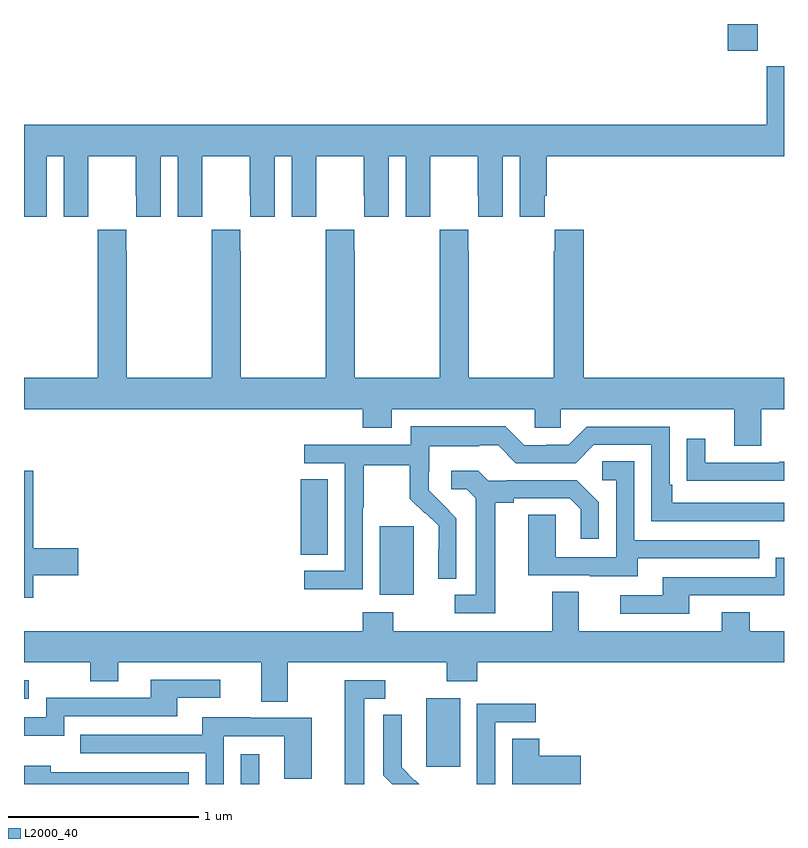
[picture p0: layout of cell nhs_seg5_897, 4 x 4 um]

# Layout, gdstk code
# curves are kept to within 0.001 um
import gdstk
lib = gdstk.Library(unit=1e-6, precision=1e-09)
def R(c, l, rs):  # rectangles x0, y0, x1, y1
    for r in rs: c.add(gdstk.rectangle(r[:2], r[2:], *l))
def P(c, l, *ps):  # polygons
    for p in ps: c.add(gdstk.Polygon(p, *l))
L2000_40 = (2000, 40)

nhs_seg5_897 = lib.new_cell('nhs_seg5_897')
R(nhs_seg5_897, L2000_40, [(170.142,842.799,170.239,842.956), (171.116,842.889,171.295,843.25), (169,843.249,169.024,843.345), (170.873,843.794,171.052,844.155), (170.456,844.006,170.599,844.403), (172.703,846.657,172.863,846.799)])
P(nhs_seg5_897, L2000_40, [(169.12,846.104),(169.208,846.104),(169.208,845.784),(169.338,845.784),(169.338,845.896),(169.339,845.896),(169.339,846.104),(169.589,846.104),(169.589,845.896),(169.59,845.896),(169.59,845.784),(169.72,845.784),(169.72,846.104),(169.808,846.104),(169.808,845.784),(169.938,845.784),(169.938,845.896),(169.939,845.896),(169.939,846.104),(170.189,846.104),(170.189,845.896),(170.19,845.896),(170.19,845.784),(170.32,845.784),(170.32,846.104),(170.408,846.104),(170.408,845.784),(170.538,845.784),(170.538,845.896),(170.539,845.896),(170.539,846.104),(170.789,846.104),(170.789,845.896),(170.79,845.896),(170.79,845.784),(170.92,845.784),(170.92,846.104),(171.008,846.104),(171.008,845.784),(171.138,845.784),(171.138,845.896),(171.139,845.896),(171.139,846.104),(171.389,846.104),(171.389,845.896),(171.39,845.896),(171.39,845.784),(171.52,845.784),(171.52,846.104),(171.608,846.104),(171.608,845.784),(171.742,845.784),(171.742,845.896),(171.752,845.896),(171.752,846.104),(173,846.104),(173,846.577),(172.91,846.577),(172.91,846.268),(169,846.268),(169,845.784),(169.12,845.784)],
  [(170.783,844.673),(170.935,844.673),(170.935,844.772),(171.687,844.772),(171.687,844.674),(171.825,844.674),(171.825,844.772),(172.739,844.772),(172.739,844.578),(172.879,844.578),(172.879,844.772),(173,844.772),(173,844.936),(171.947,844.936),(171.947,845.716),(171.793,845.716),(171.793,845.603),(171.787,845.603),(171.787,844.936),(171.342,844.936),(171.342,845.603),(171.339,845.603),(171.339,845.716),(171.189,845.716),(171.189,845.603),(171.187,845.603),(171.187,844.936),(170.742,844.936),(170.742,845.603),(170.739,845.603),(170.739,845.716),(170.589,845.716),(170.589,845.603),(170.587,845.603),(170.587,844.936),(170.142,844.936),(170.142,845.603),(170.139,845.603),(170.139,845.716),(169.989,845.716),(169.989,845.603),(169.987,845.603),(169.987,844.936),(169.542,844.936),(169.542,845.603),(169.539,845.603),(169.539,845.716),(169.389,845.716),(169.389,845.603),(169.387,845.603),(169.387,844.936),(169,844.936),(169,844.772),(170.783,844.772)],
  [(170.784,844.252),(170.787,844.252),(170.787,844.476),(171.031,844.476),(171.031,844.301),(171.108,844.224),(171.111,844.227),(171.182,844.157),(171.182,844.034),(171.18,844.034),(171.18,843.88),(171.276,843.88),(171.276,844.198),(171.13,844.346),(171.13,844.443),(171.132,844.443),(171.132,844.577),(171.395,844.577),(171.395,844.581),(171.495,844.581),(171.588,844.488),(171.903,844.488),(171.999,844.584),(172.302,844.584),(172.302,844.182),(173,844.182),(173,844.278),(172.411,844.278),(172.411,844.375),(172.398,844.375),(172.398,844.68),(171.963,844.68),(171.867,844.584),(171.749,844.584),(171.749,844.581),(171.633,844.581),(171.533,844.681),(171.036,844.681),(171.036,844.584),(170.475,844.584),(170.475,844.488),(170.688,844.488),(170.688,843.921),(170.475,843.921),(170.475,843.823),(170.784,843.823)],
  [(173,844.496),(172.975,844.496),(172.975,844.491),(172.585,844.491),(172.585,844.615),(172.489,844.615),(172.489,844.396),(172.591,844.396),(172.591,844.395),(173,844.395)],
  [(172.231,843.987),(172.871,843.987),(172.871,844.083),(172.212,844.083),(172.212,844.499),(172.044,844.499),(172.044,844.398),(172.116,844.398),(172.116,843.993),(171.798,843.993),(171.798,844.217),(171.653,844.217),(171.653,843.897),(171.977,843.897),(171.977,843.893),(172.231,843.893)],
  [(171.481,844.28),(171.577,844.28),(171.577,844.302),(171.872,844.302),(171.929,844.245),(171.929,844.089),(172.026,844.089),(172.026,844.282),(171.91,844.398),(171.538,844.398),(171.538,844.395),(171.444,844.395),(171.392,844.447),(171.249,844.447),(171.249,844.35),(171.33,844.35),(171.377,844.303),(171.377,843.795),(171.267,843.795),(171.267,843.699),(171.481,843.699)],
  [(169.049,843.898),(169.285,843.898),(169.285,844.04),(169.049,844.04),(169.049,844.447),(169,844.447),(169,843.78),(169.049,843.78)],
  [(172.501,843.792),(173,843.792),(173,843.991),(172.956,843.991),(172.956,843.888),(172.361,843.888),(172.361,843.792),(172.137,843.792),(172.137,843.696),(172.501,843.696)],
  [(170.389,843.44),(171.226,843.44),(171.226,843.341),(171.386,843.341),(171.386,843.44),(173,843.44),(173,843.604),(172.821,843.604),(172.821,843.703),(172.673,843.703),(172.673,843.604),(171.919,843.604),(171.919,843.812),(171.779,843.812),(171.779,843.604),(170.943,843.604),(170.943,843.703),(170.783,843.703),(170.783,843.604),(169,843.604),(169,843.44),(169.348,843.44),(169.348,843.341),(169.495,843.341),(169.495,843.44),(170.249,843.44),(170.249,843.232),(170.389,843.232)],
  [(169.212,843.156),(169.807,843.156),(169.807,843.252),(170.032,843.252),(170.032,843.348),(169.667,843.348),(169.667,843.252),(169.116,843.252),(169.116,843.15),(169,843.15),(169,843.053),(169.212,843.053)],
  [(170.791,843.249),(170.902,843.249),(170.902,843.345),(170.687,843.345),(170.687,842.799),(170.791,842.799)],
  [(171.48,843.123),(171.694,843.123),(171.694,843.222),(171.384,843.222),(171.384,842.799),(171.48,842.799)],
  [(171.06,842.82),(171.057,842.817),(170.987,842.888),(170.987,843.01),(170.988,843.01),(170.988,843.164),(170.892,843.164),(170.892,842.846),(170.939,842.799),(171.081,842.799)],
  [(170.052,843.051),(170.37,843.051),(170.37,842.827),(170.515,842.827),(170.515,843.147),(170.191,843.147),(170.191,843.151),(169.937,843.151),(169.937,843.057),(169.297,843.057),(169.297,842.961),(169.956,842.961),(169.956,842.799),(170.052,842.799)],
  [(171.931,842.948),(171.713,842.948),(171.713,843.038),(171.569,843.038),(171.569,842.799),(171.931,842.799)],
  [(169.866,842.862),(169.142,842.862),(169.142,842.896),(169,842.896),(169,842.799),(169.866,842.799)])

lib.write_gds('nhs_seg5_897.gds')
